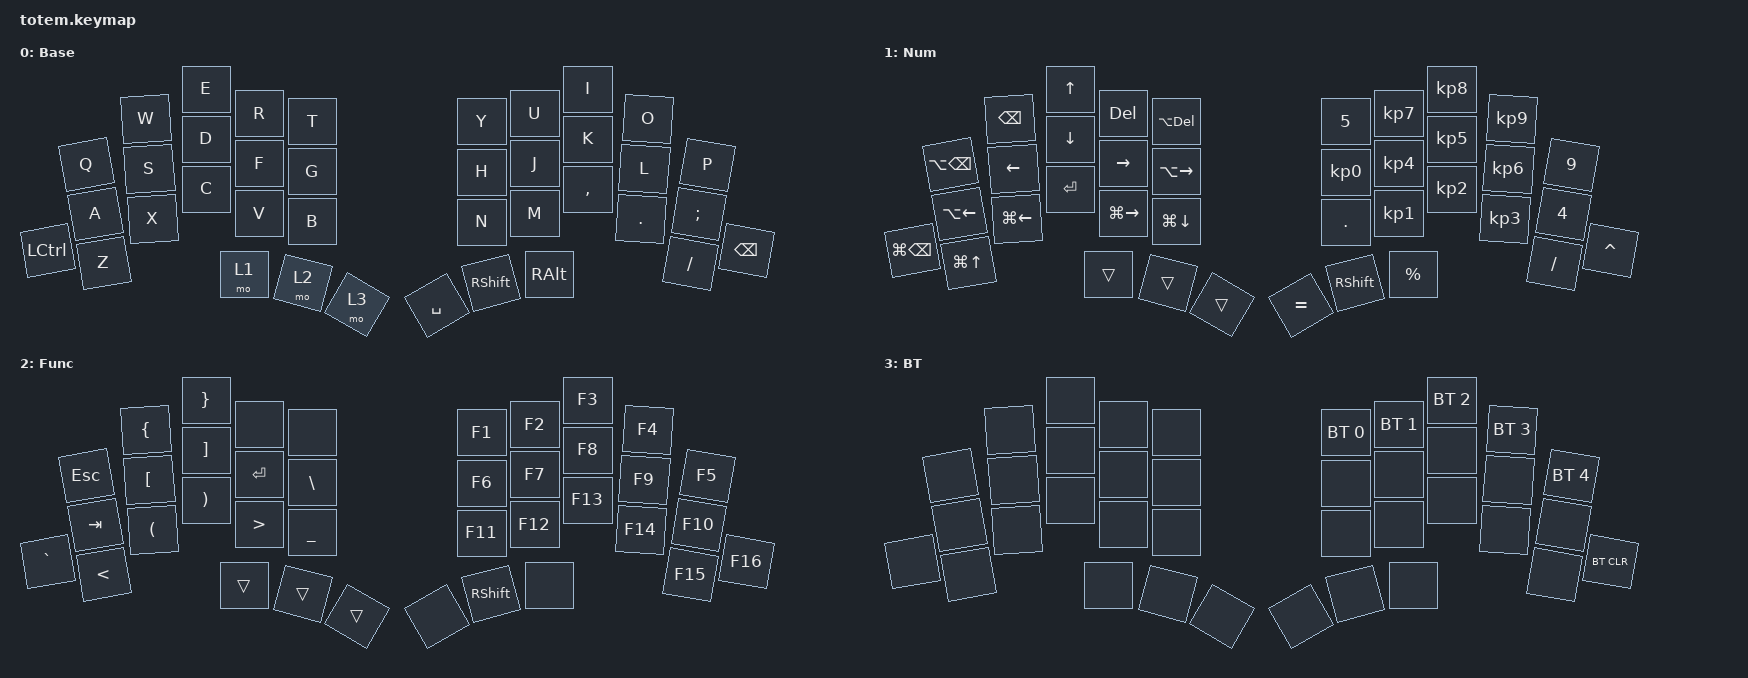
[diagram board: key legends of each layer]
//
//                                                        ▀▀▀▀▀     ▀▀▀▀▀          ▀▀█▀▀
//                                                        ▄▀▀▀▄  ▄  ▄▀▀▀▄  ▄  ▄▀▀▀▄  █  ▄▀▀▀▄
//                                                        █   █  █  █   █  █  █   █  █  █   █
//                                                         ▀▀▀   █   ▀▀▀   █   ▀▀▀   ▀   ▀▀▀
//                                                               █      ▄▄▄█▄▄▄    █   █  
//                                                               ▀      █  █  █     █▄█
//                                                             ▀▀▀▀▀    █  █  █      ▀
//                                                                      ▀  ▀  ▀
//
// ▄▄▄▄▄▄▄▄▄▄▄▄▄▄▄▄▄▄▄▄▄▄▄▄▄▄▄▄▄▄▄▄▄▄▄▄▄▄▄▄▄▄▄▄▄▄▄▄▄▄▄▄▄▄▄▄▄▄▄▄▄▄▄▄▄▄▄▄▄▄▄▄▄▄▄▄▄▄▄▄▄▄▄▄▄▄▄▄▄▄▄▄▄▄▄▄▄▄▄▄▄▄▄▄▄▄▄▄▄▄▄▄▄▄▄▄▄▄▄▄▄▄▄▄▄▄▄▄▄▄▄▄▄▄▄▄▄▄▄▄▄▄▄▄▄▄▄▄▄

#include <behaviors.dtsi>
#include <dt-bindings/zmk/bt.h>
#include <dt-bindings/zmk/keys.h>

/ {
    keymap {
        compatible = "zmk,keymap";

        base {
            display-name = "Base";
            bindings = <
           &kp Q  &kp W  &kp E  &kp R  &kp T    &kp Y      &kp U            &kp I          &kp O    &kp P
           &kp A  &kp S  &kp D  &kp F  &kp G    &kp H      &kp J            &kp K          &kp L    &kp SEMI
&kp LCTRL  &kp Z  &kp X  &kp C  &kp V  &kp B    &kp N      &kp M            &kp COMMA      &kp DOT  &kp FSLH  &kp BACKSPACE
                         &mo 1  &mo 2  &mo 3    &kp SPACE  &kp RIGHT_SHIFT  &kp RIGHT_ALT
            >;
        };

        nav_num {
            display-name = "Num";
            bindings = <
                   &kp LA(BACKSPACE)   &kp BACKSPACE  &kp UP     &kp DELETE     &kp LA(DELETE)        &kp N5           &kp KP_N7        &kp KP_NUMBER_8  &kp KP_N9  &kp N9
                   &kp LA(LEFT_ARROW)  &kp LEFT       &kp DOWN   &kp RIGHT      &kp LA(RIGHT)         &kp KP_NUMBER_0  &kp KP_N4        &kp KP_NUMBER_5  &kp KP_N6  &kp N4
&kp LG(BACKSPACE)  &kp LG(UP_ARROW)    &kp LG(LEFT)   &kp ENTER  &kp LG(RIGHT)  &kp LG(DOWN_ARROW)    &kp PERIOD       &kp KP_NUMBER_1  &kp KP_N2        &kp KP_N3  &kp FSLH  &kp CARET
                                                      &trans     &trans         &trans                &kp EQUAL        &kp RIGHT_SHIFT  &kp PERCENT
            >;
        };

        sym_func {
            display-name = "Func";
            bindings = <
           &kp ESC        &kp LEFT_BRACE        &kp RIGHT_BRACE        &none             &none             &kp F1   &kp F2           &kp F3   &kp F4   &kp F5
           &kp TAB        &kp LBKT              &kp RBKT               &kp ENTER         &kp BSLH          &kp F6   &kp F7           &kp F8   &kp F9   &kp F10
&kp GRAVE  &kp LESS_THAN  &kp LEFT_PARENTHESIS  &kp RIGHT_PARENTHESIS  &kp GREATER_THAN  &kp UNDERSCORE    &kp F11  &kp F12          &kp F13  &kp F14  &kp F15  &kp F16
                                                &trans                 &trans            &trans            &none    &kp RIGHT_SHIFT  &none
            >;
        };

        bt_device {
            display-name = "BT";
            bindings = <
       &none  &none  &none  &none  &none    &bt BT_SEL 0  &bt BT_SEL 1  &bt BT_SEL 2  &bt BT_SEL 3  &bt BT_SEL 4
       &none  &none  &none  &none  &none    &none         &none         &none         &none         &none
&none  &none  &none  &none  &none  &none    &none         &none         &none         &none         &none         &bt BT_CLR
                     &none  &none  &none    &none         &none         &none
            >;
        };
    };

    conditional_layers { compatible = "zmk,conditional-layers"; };
};
